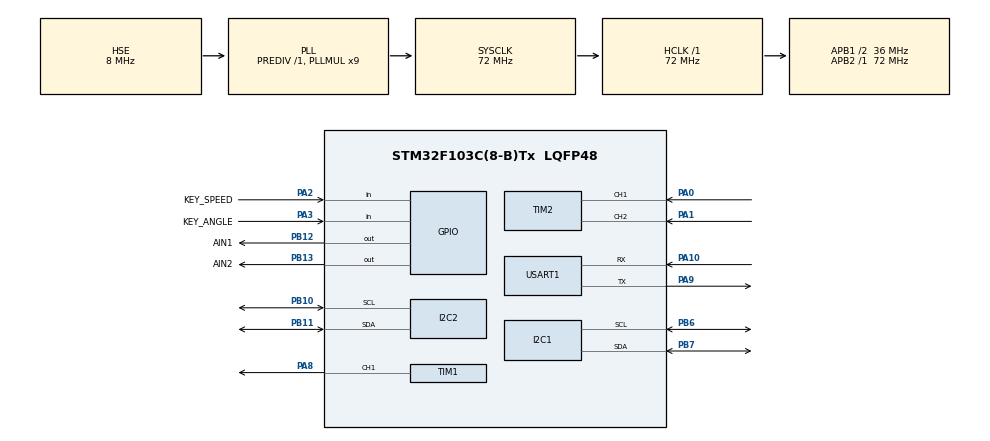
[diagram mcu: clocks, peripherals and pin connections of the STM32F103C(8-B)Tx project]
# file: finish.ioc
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I2C1.I2C_Mode=I2C_Fast
I2C2.I2C_Mode=I2C_Fast
Mcu.Family=STM32F1
Mcu.Name=STM32F103C(8-B)Tx
Mcu.Package=LQFP48
NVIC.PriorityGroup=NVIC_PRIORITYGROUP_4
NVIC.TIM3_IRQn=true\:0\:0\:false\:false\:true\:true\:true\:true
NVIC.USART1_IRQn=true\:1\:0\:false\:false\:true\:true\:true\:true
PA0-WKUP.Signal=S_TIM2_CH1_ETR
PA1.Signal=S_TIM2_CH2
PA10.Mode=Asynchronous
PA10.Signal=USART1_RX
PA13.Mode=Serial_Wire
PA13.Signal=SYS_JTMS-SWDIO
PA14.Mode=Serial_Wire
PA14.Signal=SYS_JTCK-SWCLK
PA2.GPIO_Label=KEY_SPEED
PA2.GPIO_PuPd=GPIO_PULLUP
PA2.Signal=GPIO_Input
PA3.GPIO_Label=KEY_ANGLE
PA3.GPIO_PuPd=GPIO_PULLUP
PA3.Signal=GPIO_Input
PA8.Signal=S_TIM1_CH1
PA9.Mode=Asynchronous
PA9.Signal=USART1_TX
PB10.Mode=I2C
PB10.Signal=I2C2_SCL
PB11.Mode=I2C
PB11.Signal=I2C2_SDA
PB12.GPIO_Label=AIN1
PB12.Signal=GPIO_Output
PB13.GPIO_Label=AIN2
PB13.Signal=GPIO_Output
PB6.Mode=I2C
PB6.Signal=I2C1_SCL
PB7.Mode=I2C
PB7.Signal=I2C1_SDA
PD0-OSC_IN.Mode=HSE-External-Oscillator
PD0-OSC_IN.Signal=RCC_OSC_IN
PD1-OSC_OUT.Mode=HSE-External-Oscillator
PD1-OSC_OUT.Signal=RCC_OSC_OUT
ProjectManager.HeapSize=0x200
ProjectManager.StackSize=0x400
ProjectManager.TargetToolchain=CMake
RCC.AHBFreq_Value=72000000
RCC.APB1CLKDivider=RCC_HCLK_DIV2
RCC.APB1Freq_Value=36000000
RCC.APB1TimFreq_Value=72000000
RCC.APB2Freq_Value=72000000
RCC.APB2TimFreq_Value=72000000
RCC.HCLKFreq_Value=72000000
RCC.PLLMUL=RCC_PLL_MUL9
RCC.PLLSourceVirtual=RCC_PLLSOURCE_HSE
RCC.SYSCLKFreq_VALUE=72000000
RCC.SYSCLKSource=RCC_SYSCLKSOURCE_PLLCLK
RCC.USBFreq_Value=72000000
SH.S_TIM1_CH1.0=TIM1_CH1,PWM Generation1 CH1
SH.S_TIM2_CH1_ETR.0=TIM2_CH1,Encoder_Interface
SH.S_TIM2_CH2.0=TIM2_CH2,Encoder_Interface
TIM1.AutoReloadPreload=TIM_AUTORELOAD_PRELOAD_ENABLE
TIM1.Channel-PWM\ Generation1\ CH1=TIM_CHANNEL_1
TIM1.Period=99
TIM1.Prescaler=71
TIM2.EncoderMode=TIM_ENCODERMODE_TI12
TIM3.AutoReloadPreload=TIM_AUTORELOAD_PRELOAD_ENABLE
TIM3.Period=9
TIM3.Prescaler=7199
USART1.VirtualMode=VM_ASYNC
VP_TIM1_VS_ClockSourceINT.Mode=Internal
VP_TIM3_VS_ClockSourceINT.Mode=Internal
board=custom

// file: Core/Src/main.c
/* USER CODE BEGIN Header */
/**
  ******************************************************************************
  * @file           : main.c
  * @brief          : Main program body
  ******************************************************************************
  * @attention
  *
  * Copyright (c) 2026 STMicroelectronics.
  * All rights reserved.
  *
  * This software is licensed under terms that can be found in the LICENSE file
  * in the root directory of this software component.
  * If no LICENSE file comes with this software, it is provided AS-IS.
  *
  ******************************************************************************
  */
/* USER CODE END Header */
#include "main.h"
#include "i2c.h"
#include "tim.h"
#include "usart.h"
#include "gpio.h"

/* USER CODE BEGIN Includes */
#include <stdio.h>
#include <stdlib.h>
#include <string.h>

#include "control.h"
#include "encoder.h"
#include "ins.h"
#include "knob.h"
#include "motor.h"
#include "oled.h"
#include "pid.h"
#include "vofa.h"
/* USER CODE END Includes */

/* USER CODE BEGIN PV */
volatile uint8_t control_flag = 0U;
/* USER CODE END PV */

void SystemClock_Config(void);
/* USER CODE BEGIN PFP */
static void FormatFixed1(char *buffer, size_t size, float value);
static void OLED_ShowStatus(void);
/* USER CODE END PFP */

/* USER CODE BEGIN 0 */
static void FormatFixed1(char *buffer, size_t size, float value)
{
    int scaled = (int)(value * 10.0f + (value >= 0.0f ? 0.5f : -0.5f));
    int whole = scaled / 10;
    int decimal = abs(scaled % 10);

    snprintf(buffer, size, "%d.%d", whole, decimal);
}

static void OLED_ShowStatus(void)
{
    ControlTelemetry_t telemetry;
    Control_GetTelemetry(&telemetry);
    ins_data_t *ins = ins_data();

    char target_angle[16];
    char actual_angle[16];
    char target_speed[16];
    char actual_speed[16];
    char error[16];
    char line[22];

    FormatFixed1(target_angle, sizeof(target_angle), telemetry.target_angle_deg);
    FormatFixed1(actual_angle, sizeof(actual_angle), telemetry.actual_angle_deg);
    FormatFixed1(target_speed, sizeof(target_speed), telemetry.target_speed_rpm);
    FormatFixed1(actual_speed, sizeof(actual_speed), telemetry.actual_speed_rpm);
    FormatFixed1(error, sizeof(error),
                 telemetry.target_angle_deg - telemetry.actual_angle_deg);

    OLED_NewFrame();
    snprintf(line, sizeof(line), "%s T:%.6s A:%.6s",
             telemetry.mode == CONTROL_MODE_ANGLE ? "ANG" : "SPD",
             target_angle, actual_angle);
    OLED_PrintASCIIString(0U, 0U, line, &afont12x6, OLED_COLOR_NORMAL);

    snprintf(line, sizeof(line), "ERR:%s", error);
    OLED_PrintASCIIString(0U, 16U, line, &afont12x6, OLED_COLOR_NORMAL);

    snprintf(line, sizeof(line), "SPD:%.6s/%.6s", target_speed, actual_speed);
    OLED_PrintASCIIString(0U, 32U, line, &afont12x6, OLED_COLOR_NORMAL);

    snprintf(line, sizeof(line), "PWM:%d K:%4u%s", (int)telemetry.pwm_output,
             (unsigned int)Knob_GetRaw(), ins->sensor_ok ? "" : " MPU!");
    OLED_PrintASCIIString(0U, 48U, line, &afont12x6, OLED_COLOR_NORMAL);
    OLED_ShowFrame();
}
/* USER CODE END 0 */

int main(void)
{

  /* MCU Configuration--------------------------------------------------------*/

  /* Reset of all peripherals, Initializes the Flash interface and the Systick. */
  HAL_Init();

  /* Configure the system clock */
  SystemClock_Config();

  /* Initialize all configured peripherals */
  MX_GPIO_Init();
  MX_I2C1_Init();
  MX_TIM1_Init();
  MX_TIM2_Init();
  MX_TIM3_Init();
  MX_USART1_UART_Init();
  MX_I2C2_Init();
  /* USER CODE BEGIN 2 */

  Motor_Init();
  Encoder_Init();

  HAL_Delay(20U);
  OLED_Init();

  OLED_NewFrame();
  OLED_PrintASCIIString(0U, 24U, "HOLD ZERO ANGLE", &afont12x6, OLED_COLOR_NORMAL);
  OLED_ShowFrame();

  ins_init();
  Control_Init();
  Vofa_Init();

  HAL_TIM_Base_Start_IT(&htim3);

  uint32_t last_vofa_tick = HAL_GetTick();
  uint32_t last_oled_tick = last_vofa_tick;
  uint32_t last_control_tick = last_vofa_tick;

  /* USER CODE END 2 */

  /* Infinite loop */
  /* USER CODE BEGIN WHILE */
  while (1)
  {
    Vofa_PollCommand();

    if (control_flag) {
      control_flag = 0U;
      uint32_t control_tick = HAL_GetTick();
      float control_dt = (float)(control_tick - last_control_tick) / 1000.0f;
      if (control_dt <= 0.0f) {
        control_dt = CONTROL_PERIOD_S;
      } else if (control_dt > 0.05f) {
        control_dt = 0.05f;
      }
      last_control_tick = control_tick;
      Control_Update(control_dt);
    }

    uint32_t now = HAL_GetTick();
    if ((now - last_vofa_tick) >= 50U) {
      last_vofa_tick = now;
      Vofa_SendTelemetry();
    }

    if ((now - last_oled_tick) >= 200U) {
      last_oled_tick = now;
      OLED_ShowStatus();
    }
    /* USER CODE END WHILE */

  }
}

void SystemClock_Config(void)
{
  RCC_OscInitTypeDef RCC_OscInitStruct = {0};
  RCC_ClkInitTypeDef RCC_ClkInitStruct = {0};

  /** Initializes the RCC Oscillators according to the specified parameters
  * in the RCC_OscInitTypeDef structure.
  */
  RCC_OscInitStruct.OscillatorType = RCC_OSCILLATORTYPE_HSE;
  RCC_OscInitStruct.HSEState = RCC_HSE_ON;
  RCC_OscInitStruct.HSEPredivValue = RCC_HSE_PREDIV_DIV1;
  RCC_OscInitStruct.HSIState = RCC_HSI_ON;
  RCC_OscInitStruct.PLL.PLLState = RCC_PLL_ON;
  RCC_OscInitStruct.PLL.PLLSource = RCC_PLLSOURCE_HSE;
  RCC_OscInitStruct.PLL.PLLMUL = RCC_PLL_MUL9;
  if (HAL_RCC_OscConfig(&RCC_OscInitStruct) != HAL_OK)
  {
    Error_Handler();
  }

  /** Initializes the CPU, AHB and APB buses clocks
  */
  RCC_ClkInitStruct.ClockType = RCC_CLOCKTYPE_HCLK|RCC_CLOCKTYPE_SYSCLK
                              |RCC_CLOCKTYPE_PCLK1|RCC_CLOCKTYPE_PCLK2;
  RCC_ClkInitStruct.SYSCLKSource = RCC_SYSCLKSOURCE_PLLCLK;
  RCC_ClkInitStruct.AHBCLKDivider = RCC_SYSCLK_DIV1;
  RCC_ClkInitStruct.APB1CLKDivider = RCC_HCLK_DIV2;
  RCC_ClkInitStruct.APB2CLKDivider = RCC_HCLK_DIV1;

  if (HAL_RCC_ClockConfig(&RCC_ClkInitStruct, FLASH_LATENCY_2) != HAL_OK)
  {
    Error_Handler();
  }
}

/* USER CODE BEGIN 4 */
void HAL_TIM_PeriodElapsedCallback(TIM_HandleTypeDef *htim)
{
  static uint8_t control_divider = 0U;

  if (htim->Instance == TIM3)
  {
    control_divider++;
    if (control_divider >= CONTROL_PERIOD_MS)
    {
      control_divider = 0U;
      control_flag = 1U;
    }
  }
}
/* USER CODE END 4 */

void Error_Handler(void)
{
  __disable_irq();
  while (1)
  {
  }
}
